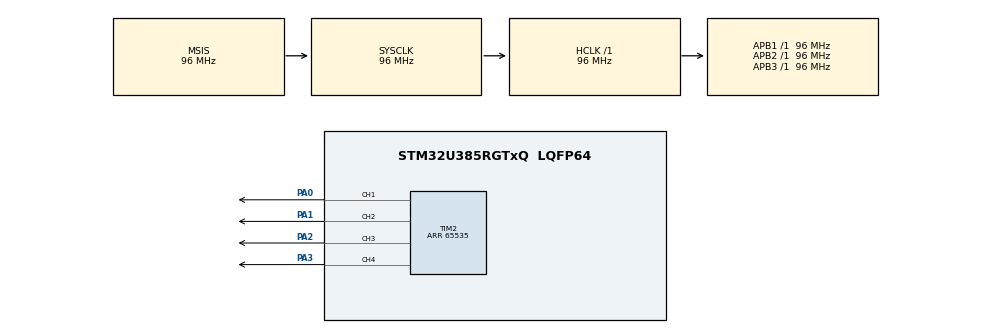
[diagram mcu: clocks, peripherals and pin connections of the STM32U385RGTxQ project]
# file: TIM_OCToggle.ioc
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CORTEX_M33_NS.userName=CORTEX_M33
Mcu.Family=STM32U3
Mcu.Name=STM32U385RGTxQ
Mcu.Package=LQFP64
NVIC.PriorityGroup=NVIC_PRIORITYGROUP_4
NVIC.TIM2_IRQn=true\:0\:0\:false\:false\:true\:true\:true\:true
PA0.GPIO_Speed=GPIO_SPEED_FREQ_VERY_HIGH
PA0.Signal=S_TIM2_CH1
PA1.GPIO_Speed=GPIO_SPEED_FREQ_VERY_HIGH
PA1.Signal=S_TIM2_CH2
PA2.GPIO_Speed=GPIO_SPEED_FREQ_VERY_HIGH
PA2.Signal=S_TIM2_CH3
PA3.GPIO_Speed=GPIO_SPEED_FREQ_VERY_HIGH
PA3.Signal=S_TIM2_CH4
ProjectManager.HeapSize=0x200
ProjectManager.StackSize=0x400
ProjectManager.TargetToolchain=EWARM V9.20
RCC.ADCFreq_Value=96000000
RCC.AHBFreq_Value=96000000
RCC.APB1Freq_Value=96000000
RCC.APB1TimFreq_Value=96000000
RCC.APB2Freq_Value=96000000
RCC.APB2TimFreq_Value=96000000
RCC.APB3Freq_Value=96000000
RCC.CortexFreq_Value=12000000
RCC.HCLKFreq_Value=96000000
RCC.HSE_VALUE=16000000
RCC.HSI48_VALUE=48000000
RCC.HSI_VALUE=16000000
RCC.LSE_VALUE=32768
RCC.LSIDIV_VALUE=32000
RCC.MSISDIV=RCC_MSI_DIV1
RCC.MSI_VALUE=96000000
RCC.PWR_Regulator_Voltage_Scale=PWR_REGULATOR_VOLTAGE_SCALE1
RCC.SYSCLKFreq_VALUE=96000000
RCC.USBFreq_Value=96000000
SH.S_TIM2_CH1.0=TIM2_CH1,Output Compare1 CH1
SH.S_TIM2_CH2.0=TIM2_CH2,Output Compare2 CH2
SH.S_TIM2_CH3.0=TIM2_CH3,Output Compare3 CH3
SH.S_TIM2_CH4.0=TIM2_CH4,Output Compare4 CH4
TIM2.Channel-Output\ Compare1\ CH1=TIM_CHANNEL_1
TIM2.Channel-Output\ Compare2\ CH2=TIM_CHANNEL_2
TIM2.Channel-Output\ Compare3\ CH3=TIM_CHANNEL_3
TIM2.Channel-Output\ Compare4\ CH4=TIM_CHANNEL_4
TIM2.OCMode_1=TIM_OCMODE_TOGGLE
TIM2.OCMode_2=TIM_OCMODE_TOGGLE
TIM2.OCMode_3=TIM_OCMODE_TOGGLE
TIM2.OCMode_4=TIM_OCMODE_TOGGLE
TIM2.OCPolarity_1=TIM_OCPOLARITY_LOW
TIM2.OCPolarity_2=TIM_OCPOLARITY_LOW
TIM2.OCPolarity_3=TIM_OCPOLARITY_LOW
TIM2.OCPolarity_4=TIM_OCPOLARITY_LOW
TIM2.PeriodNoDither=65535
TIM2.Prescaler=PRESCALER_VALUE
TIM2.PulseNoDither_1=PULSE1_VALUE
TIM2.PulseNoDither_2=PULSE2_VALUE
TIM2.PulseNoDither_3=PULSE3_VALUE
TIM2.PulseNoDither_4=PULSE4_VALUE
VP_ICACHE_VS_ICACHE.Mode=DirectMappedCache
VP_PWR_VS_DBSignals.Mode=DisableDeadBatterySignals
VP_PWR_VS_LPOM.Mode=PowerOptimisation
VP_PWR_VS_SECSignals.Mode=Security/Privilege
board=custom

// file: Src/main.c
/* USER CODE BEGIN Header */
/**
  ******************************************************************************
  * @file    TIM/TIM_OCToggle/Src/main.c
  * @author  MCD Application Team
  * @brief   This example shows how to configure the Timer to generate four different
  *          signals with four different frequencies.
  ******************************************************************************
  * @attention
  *
  * Copyright (c) 2024 STMicroelectronics.
  * All rights reserved.
  *
  * This software is licensed under terms that can be found in the LICENSE file
  * in the root directory of this software component.
  * If no LICENSE file comes with this software, it is provided AS-IS.
  *
  ******************************************************************************
  */
/* USER CODE END Header */
#include "main.h"

TIM_HandleTypeDef htim2;

void SystemClock_Config(void);
static void MX_GPIO_Init(void);
static void MX_ICACHE_Init(void);
static void MX_TIM2_Init(void);

int main(void)
{

  /* USER CODE BEGIN 1 */

  /* STM32U3xx HAL library initialization:
       - Configure the Flash prefetch
       - Configure the Systick to generate an interrupt each 1 msec
       - Set NVIC Group Priority to 3
       - Low Level Initialization
     */

  /* USER CODE END 1 */

  /* MCU Configuration--------------------------------------------------------*/

  /* Reset of all peripherals, Initializes the Flash interface and the Systick. */
  HAL_Init();

  /* Configure the system clock */
  SystemClock_Config();

  /* USER CODE BEGIN SysInit */

  /* Configure LD2 */
  BSP_LED_Init(LD2);

  /* USER CODE END SysInit */

  /* Initialize all configured peripherals */
  MX_GPIO_Init();
  MX_ICACHE_Init();
  MX_TIM2_Init();
  /* USER CODE BEGIN 2 */

  /*## Start signals generation #######################################*/
  /* Start channel 1 in Output compare mode */
  if(HAL_TIM_OC_Start_IT(&htim2, TIM_CHANNEL_1) != HAL_OK)
  {
    /* Starting Error */
    Error_Handler();
  }
  /* Start channel 2 in Output compare mode */
  if(HAL_TIM_OC_Start_IT(&htim2, TIM_CHANNEL_2) != HAL_OK)
  {
    /* Starting Error */
    Error_Handler();
  }
  /* Start channel 3 in Output compare mode */
  if(HAL_TIM_OC_Start_IT(&htim2, TIM_CHANNEL_3) != HAL_OK)
  {
    /* Starting Error */
    Error_Handler();
  }
  /* Start channel 4 in Output compare mode */
  if(HAL_TIM_OC_Start_IT(&htim2, TIM_CHANNEL_4) != HAL_OK)
  {
    /* Starting Error */
    Error_Handler();
  }
  /* USER CODE END 2 */

  /* Infinite loop */
  while (1)
  {

  }
}

void SystemClock_Config(void)
{
  RCC_OscInitTypeDef RCC_OscInitStruct = {0};
  RCC_ClkInitTypeDef RCC_ClkInitStruct = {0};

  /** Enable Epod Booster
  */
  if (HAL_RCCEx_EpodBoosterClkConfig(RCC_EPODBOOSTER_SOURCE_MSIS, RCC_EPODBOOSTER_DIV1) != HAL_OK)
  {
    Error_Handler();
  }

  if (HAL_PWREx_EnableEpodBooster() != HAL_OK)
  {
    Error_Handler();
  }

  /** Configure the main internal regulator output voltage
  */
  if (HAL_PWREx_ControlVoltageScaling(PWR_REGULATOR_VOLTAGE_SCALE1) != HAL_OK)
  {
    Error_Handler();
  }

  /** Set Flash latency before increasing MSIS
  */
  __HAL_FLASH_SET_LATENCY(FLASH_LATENCY_2);

  /** Initializes the CPU, AHB and APB buses clocks
  */
  RCC_OscInitStruct.OscillatorType = RCC_OSCILLATORTYPE_MSIS;
  RCC_OscInitStruct.MSISState = RCC_MSI_ON;
  RCC_OscInitStruct.MSISSource = RCC_MSI_RC0;
  RCC_OscInitStruct.MSISDiv = RCC_MSI_DIV1;
  if (HAL_RCC_OscConfig(&RCC_OscInitStruct) != HAL_OK)
  {
    Error_Handler();
  }

  /** Initializes the CPU, AHB and APB buses clocks
  */
  RCC_ClkInitStruct.ClockType = RCC_CLOCKTYPE_HCLK|RCC_CLOCKTYPE_SYSCLK
                              |RCC_CLOCKTYPE_PCLK1|RCC_CLOCKTYPE_PCLK2
                              |RCC_CLOCKTYPE_PCLK3;
  RCC_ClkInitStruct.SYSCLKSource = RCC_SYSCLKSOURCE_MSIS;
  RCC_ClkInitStruct.AHBCLKDivider = RCC_SYSCLK_DIV1;
  RCC_ClkInitStruct.APB1CLKDivider = RCC_HCLK_DIV1;
  RCC_ClkInitStruct.APB2CLKDivider = RCC_HCLK_DIV1;
  RCC_ClkInitStruct.APB3CLKDivider = RCC_HCLK_DIV1;

  if (HAL_RCC_ClockConfig(&RCC_ClkInitStruct, FLASH_LATENCY_2) != HAL_OK)
  {
    Error_Handler();
  }
}

static void MX_ICACHE_Init(void)
{

  /** Enable instruction cache in 1-way (direct mapped cache)
  */
  if (HAL_ICACHE_ConfigAssociativityMode(ICACHE_1WAY) != HAL_OK)
  {
    Error_Handler();
  }
  if (HAL_ICACHE_Enable() != HAL_OK)
  {
    Error_Handler();
  }

}

static void MX_TIM2_Init(void)
{

  TIM_MasterConfigTypeDef sMasterConfig = {0};
  TIM_OC_InitTypeDef sConfigOC = {0};

  htim2.Instance = TIM2;
  htim2.Init.Prescaler = PRESCALER_VALUE;
  htim2.Init.CounterMode = TIM_COUNTERMODE_UP;
  htim2.Init.Period = 65535;
  htim2.Init.ClockDivision = TIM_CLOCKDIVISION_DIV1;
  htim2.Init.AutoReloadPreload = TIM_AUTORELOAD_PRELOAD_DISABLE;
  if (HAL_TIM_OC_Init(&htim2) != HAL_OK)
  {
    Error_Handler();
  }
  sMasterConfig.MasterOutputTrigger = TIM_TRGO_RESET;
  sMasterConfig.MasterSlaveMode = TIM_MASTERSLAVEMODE_DISABLE;
  if (HAL_TIMEx_MasterConfigSynchronization(&htim2, &sMasterConfig) != HAL_OK)
  {
    Error_Handler();
  }
  sConfigOC.OCMode = TIM_OCMODE_TOGGLE;
  sConfigOC.Pulse = PULSE1_VALUE;
  sConfigOC.OCPolarity = TIM_OCPOLARITY_LOW;
  sConfigOC.OCFastMode = TIM_OCFAST_DISABLE;
  if (HAL_TIM_OC_ConfigChannel(&htim2, &sConfigOC, TIM_CHANNEL_1) != HAL_OK)
  {
    Error_Handler();
  }
  sConfigOC.Pulse = PULSE2_VALUE;
  if (HAL_TIM_OC_ConfigChannel(&htim2, &sConfigOC, TIM_CHANNEL_2) != HAL_OK)
  {
    Error_Handler();
  }
  sConfigOC.Pulse = PULSE3_VALUE;
  if (HAL_TIM_OC_ConfigChannel(&htim2, &sConfigOC, TIM_CHANNEL_3) != HAL_OK)
  {
    Error_Handler();
  }
  sConfigOC.Pulse = PULSE4_VALUE;
  if (HAL_TIM_OC_ConfigChannel(&htim2, &sConfigOC, TIM_CHANNEL_4) != HAL_OK)
  {
    Error_Handler();
  }
  HAL_TIM_MspPostInit(&htim2);

}

static void MX_GPIO_Init(void)
{

  /* GPIO Ports Clock Enable */
  __HAL_RCC_GPIOA_CLK_ENABLE();

}

/* USER CODE BEGIN 4 */

/**
  * @brief  Output Compare callback in non blocking mode
  * @param  htim : TIM OC handle
  * @retval None
  */
void HAL_TIM_OC_DelayElapsedCallback(TIM_HandleTypeDef *htim)
{
  uint16_t autoreload_value;
  uint32_t uhCapture = 0;

  /* Get configured autoreload value */
  autoreload_value = __HAL_TIM_GET_AUTORELOAD(htim);

  /* TIM2_CH1 toggling with frequency = 800 Hz */
  if(htim->Channel == HAL_TIM_ACTIVE_CHANNEL_1)
  {
    uhCapture = HAL_TIM_ReadCapturedValue(htim, TIM_CHANNEL_1);

    /* Set the Capture Compare Register value */
    if (uhCapture + PULSE1_VALUE < autoreload_value)
    {
      __HAL_TIM_SET_COMPARE(htim, TIM_CHANNEL_1, (uhCapture + PULSE1_VALUE));
    }
    else
    {
      __HAL_TIM_SET_COMPARE(htim, TIM_CHANNEL_1, (uhCapture + PULSE1_VALUE) - autoreload_value);
    }
  }

  /* TIM2_CH2 toggling with frequency = 400 Hz */
  if(htim->Channel == HAL_TIM_ACTIVE_CHANNEL_2)
  {
    uhCapture = HAL_TIM_ReadCapturedValue(htim, TIM_CHANNEL_2);

    /* Set the Capture Compare Register value */
    if (uhCapture + PULSE2_VALUE < autoreload_value)
    {
      __HAL_TIM_SET_COMPARE(htim, TIM_CHANNEL_2, (uhCapture + PULSE2_VALUE));
    }
    else
    {
      __HAL_TIM_SET_COMPARE(htim, TIM_CHANNEL_2, (uhCapture + PULSE2_VALUE) - autoreload_value);
    }
  }

  /* TIM2_CH3 toggling with frequency = 200 Hz */
  if(htim->Channel == HAL_TIM_ACTIVE_CHANNEL_3)
  {
    uhCapture = HAL_TIM_ReadCapturedValue(htim, TIM_CHANNEL_3);

    /* Set the Capture Compare Register value */
    if (uhCapture + PULSE3_VALUE < autoreload_value)
    {
      __HAL_TIM_SET_COMPARE(htim, TIM_CHANNEL_3, (uhCapture + PULSE3_VALUE));
    }
    else
    {
      __HAL_TIM_SET_COMPARE(htim, TIM_CHANNEL_3, (uhCapture + PULSE3_VALUE) - autoreload_value);
    }
  }

  /* TIM2_CH4 toggling with frequency = 100 Hz */
  if(htim->Channel == HAL_TIM_ACTIVE_CHANNEL_4)
  {
    uhCapture = HAL_TIM_ReadCapturedValue(htim, TIM_CHANNEL_4);

    /* Set the Capture Compare Register value */
    if (uhCapture + PULSE4_VALUE < autoreload_value)
    {
      __HAL_TIM_SET_COMPARE(htim, TIM_CHANNEL_4, (uhCapture + PULSE4_VALUE));
    }
    else
    {
      __HAL_TIM_SET_COMPARE(htim, TIM_CHANNEL_4, (uhCapture + PULSE4_VALUE) - autoreload_value);
    }
  }
}

/* USER CODE END 4 */

void Error_Handler(void)
{
  /* USER CODE BEGIN Error_Handler_Debug */
  /* Turn LD2 on */
  BSP_LED_On(LD2);
  while(1)
  {
  }
  /* USER CODE END Error_Handler_Debug */
}
